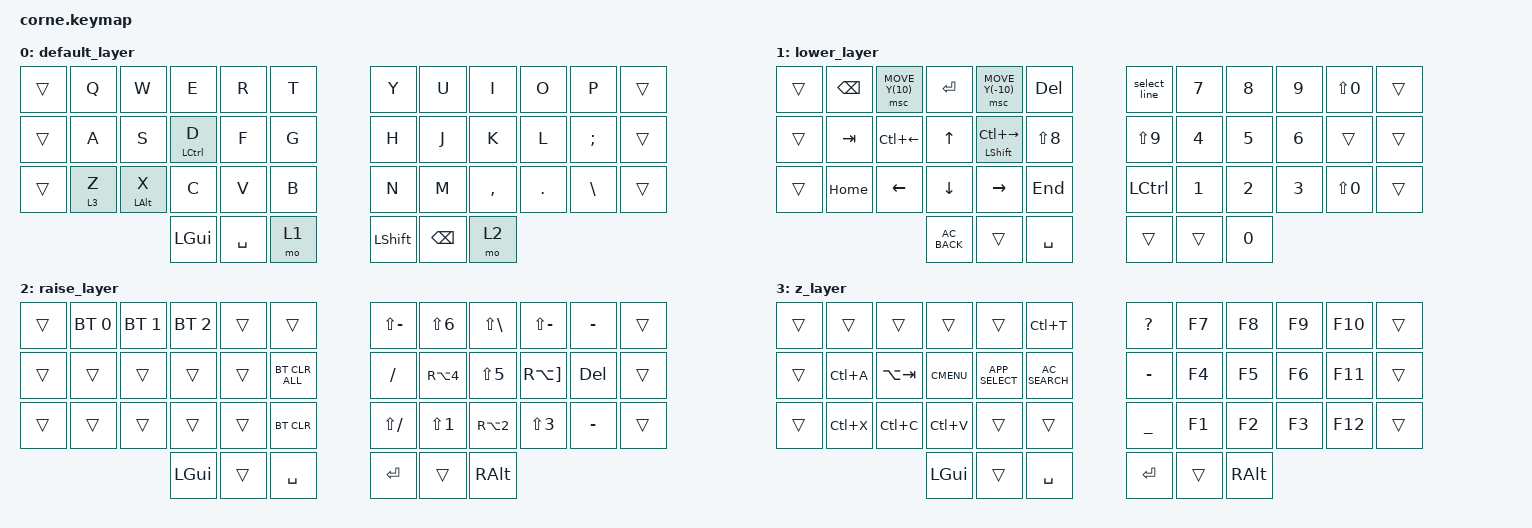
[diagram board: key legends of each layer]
/*
 * Copyright (c) 2020 The ZMK Contributors
 *
 * SPDX-License-Identifier: MIT
 */

#include <behaviors.dtsi>
#include <dt-bindings/zmk/keys.h>
#include <dt-bindings/zmk/bt.h>
#include <dt-bindings/zmk/pointing.h> 

/ {
    // -------------------------------------------------------------------------
    // MACROS 
    // -------------------------------------------------------------------------
    macros {
        select_line: select_line {
            compatible = "zmk,behavior-macro";
            #binding-cells = <0>;
            wait-ms = <30>;
            tap-ms = <30>;
            bindings = <&kp HOME>,
                       <&macro_press &kp LSHIFT>,
                       <&macro_tap &kp END>,
                       <&macro_release &kp LSHIFT>;
        };

        ctrl_shift: ctrl_shift {
        compatible = "zmk,behavior-macro";
        #binding-cells = <0>;
        bindings = <&macro_press &kp LCTRL &kp LSHIFT>,
                   <&macro_pause_for_release>,
                   <&macro_release &kp LCTRL &kp LSHIFT>;
        };
};

    // -------------------------------------------------------------------------
    // BEHAVIORS
    // -------------------------------------------------------------------------
    behaviors {
        lt_z: layer_tap_z {
            compatible = "zmk,behavior-hold-tap";
            #binding-cells = <2>;
            flavor = "balanced";
            tapping-term-ms = <200>;
            quick-tap-ms = <150>;
            bindings = <&mo>, <&kp>;
        };

        hml: home_row_mod_left {
            compatible = "zmk,behavior-hold-tap";
            #binding-cells = <2>;
            flavor = "balanced";
            tapping-term-ms = <300>;
            quick-tap-ms = <175>;
            require-prior-idle-ms = <175>;
            bindings = <&kp>, <&kp>;
        };

        hmr: home_row_mod_right {
            compatible = "zmk,behavior-hold-tap";
            #binding-cells = <2>;
            flavor = "balanced";
            tapping-term-ms = <280>;
            quick-tap-ms = <175>;
            require-prior-idle-ms = <150>;
            bindings = <&kp>, <&kp>;
        };

        shft_lc_right: shft_lc_right {
            compatible = "zmk,behavior-hold-tap";
            #binding-cells = <2>;
            flavor = "balanced";
            tapping-term-ms = <280>;
            quick-tap-ms = <175>;
            bindings = <&kp>, <&kp>;
        };
};

    // -------------------------------------------------------------------------
    // COMBOS
    // -------------------------------------------------------------------------
    combos {
        compatible = "zmk,combos";

        combo_esc {
            timeout-ms = <50>;
            key-positions = <1 2>;
            bindings = <&kp ESC>;
        };

        // U + I -> Double Quote (")
        combo_dqt {
            timeout-ms = <50>;
            key-positions = <7 8>;
            bindings = <&kp LS(N2)>;
        };

        // J + L -> Colon (:)
        combo_colon {
            timeout-ms = <50>;
            key-positions = <19 21>;
            bindings = <&kp LS(DOT)>;
        };

        // J + Semicolon -> Semicolon (;)
        combo_semi {
            timeout-ms = <50>;
            key-positions = <19 22>;
            bindings = <&kp LS(COMMA)>;
        };

        // J + K -> Underscore (_)
        combo_underscore {
            timeout-ms = <50>;
            key-positions = <19 20>;
            bindings = <&kp LS(SLASH)>;
        };

        // H + J -> Minus (-)
        combo_minus {
            timeout-ms = <50>;
            key-positions = <18 19>;
            bindings = <&kp SLASH>;
        };

        // M + K -> Forward Slash (/)
        combo_fslh {
            timeout-ms = <50>;
            key-positions = <31 20>;
            bindings = <&kp LS(N7)>;
        };

        // D + V -> Backslash (\)
        combo_bslh {
            timeout-ms = <50>;
            key-positions = <15 28>;
            bindings = <&kp RA(MINUS)>;
        };

        // Pipe (|)
        //combo_pipe {
        //    timeout-ms = <50>;
        //    key-positions = <13 25>;
        //    bindings = <&kp RA(NON_US_BSLH)>;
        //};

        combo_ctrl_shift {
        timeout-ms = <75>;             // Gives you a wider window if pressed together
            key-positions = <13 25>;        // A (13) and Z (25)
            bindings = <&ctrl_shift>;
            slow-release;                   // Holds Ctrl+Shift until BOTH keys are released
        };

        // I + O + P -> Enter
        combo_enter {
            timeout-ms = <50>;
            key-positions = <8 9 10>;
            bindings = <&kp RET>;
        };

        // S + X -> Tilde (~)
        combo_tilde {
            timeout-ms = <50>;
            key-positions = <14 26>;
            bindings = <&kp RA(RBKT)>;
        };

        // Comma + Dot -> Caret (^) [Shift + ¨ key in SE layout]
        combo_caret {
            timeout-ms = <50>;
            key-positions = <32 33>;
            bindings = <&kp LS(RBKT)>;
        };

        // A + E -> ä / Ä
        combo_se_a_umlaut {
            timeout-ms = <50>;
            key-positions = <13 3>;
            bindings = <&kp SQT>;
        };

        // A + Ö (SEMI) -> å / Å
        combo_se_a_ring {
            timeout-ms = <50>;
            key-positions = <13 22>;
            bindings = <&kp LBKT>;
        };
        // V + D + R -> Less-Than (<) [NON_US_BSLH key in SE layout]
        combo_lt {
            timeout-ms = <50>;
            key-positions = <28 15 4>;
            bindings = <&kp NON_US_BSLH>;
        };

        // M + K + U -> Greater-Than (>) [Shift + NON_US_BSLH in SE layout]
        combo_gt {
            timeout-ms = <50>;
            key-positions = <31 20 7>;
            bindings = <&kp LS(NON_US_BSLH)>;
        };
        // V + D + R + M + K + U -> Caret (^) [Shift + ¨ key in SE layout]
        combo_caret_6key {
            timeout-ms = <60>;
            key-positions = <28 15 4 31 20 7>;
            bindings = <&kp LS(RBKT)>;
        };
    };

    // -------------------------------------------------------------------------
    // KEYMAP
    // -------------------------------------------------------------------------
    keymap {
        compatible = "zmk,keymap";

        default_layer {
// -----------------------------------------------------------------------------------------
// | XXXX |  Q  |  W  |  E  |  R  |  T  |   |  Y  |  U   |  I  |  O  |  P  | XXXX |
// | XXXX |  A  |  S  |  D  |  F  |  G  |   |  H  |  J   |  K  |  L  |  Ö  | XXXX |
// | XXXX |  Z  |  X  |  C  |  V  |  B  |   |  N  |  M   |  ,  |  .  |  '  | XXXX |
//                    | GUI | SPC | LWR |   | ENT | BSPC | ALT |
            bindings = <
   &trans   &kp Q         &kp W         &kp E        &kp R        &kp T                     &kp Y      &kp U         &kp I          &kp O        &kp P                  &trans
   &trans   &kp A         &kp S         &hml LCTRL D &kp F        &kp G                     &kp H      &kp J         &kp K          &kp L        &kp SEMI               &trans
   &trans   &lt_z 3 Z     &hml LALT X   &kp C         &kp V        &kp B                     &kp N      &kp M         &kp COMMA      &kp DOT      &kp BSLH               &trans
                                        &kp LGUI     &kp SPACE    &mo 1                     &kp LSHIFT &kp BSPC      &mo 2
            >;
        };

        lower_layer {
// -----------------------------------------------------------------------------------------
// | XXXX |BSPC | M_UP|Enter|M_DWN| DEL |   |SEL_L|  7  |  8  |  9  |  0  | XXXX |
// | XXXX | TAB |L_LFT| UP  |L_RGT|  (  |   |  )  |  4  |  5  |  6  |     | XXXX |
// | XXXX | HOME| LEFT| DOWN|RIGHT| END |   |     |  1  |  2  |  3  |     | XXXX |
//                    | BACK|     | SPC |   | ENT |     |  0  |
            bindings = <
   &trans   &kp BSPC      &msc MOVE_Y(10)  &kp RET      &msc MOVE_Y(-10)  &kp DEL                       &select_line    &kp N7  &kp N8 &kp N9  &kp LS(N0)   &trans
   &trans   &kp TAB       &kp LC(LEFT)     &kp UP       &shft_lc_right LSHIFT LC(RIGHT)    &kp LS(N8)   &kp LS(N9)      &kp N4  &kp N5 &kp N6  &trans      &trans
   &trans   &kp HOME      &kp LEFT         &kp DOWN     &kp RIGHT         &kp END                       &kp LCTRL       &kp N1  &kp N2 &kp N3  &kp LS(N0)   &trans
                                           &kp C_AC_BACK &trans           &kp SPACE                     &trans          &trans  &kp N0
            >;
        };

        raise_layer {
// -----------------------------------------------------------------------------------------
// | XXXX |     |     |     |     |     |   |  ?  |  &  |  *  |  (  |  +  | XXXX |
// | XXXX |     |     |     |     |     |   |  -  |  $  |  %  |  ^  | DEL | XXXX |
// | XXXX |     |     |     |     |     |   |  _  |  !  |  @  |  #  |  +  | XXXX |
//                    | GUI |     | SPC |   | ENT |     | ALT |
            bindings = <
   &trans   &bt BT_SEL 0   &bt BT_SEL 1   &bt BT_SEL 2   &trans      &trans            &kp LS(MINUS) &kp LS(N6) &kp LS(BSLH)  &kp LS(MINUS)  &kp MINUS     &trans
   &trans   &trans   &trans   &trans   &trans   &bt BT_CLR_ALL       &kp SLASH     &kp RA(N4) &kp LS(N5)    &kp RA(RBKT) &kp DEL       &trans
   &trans   &trans   &trans   &trans   &trans   &bt BT_CLR           &kp LS(SLASH) &kp LS(N1) &kp RA(N2)    &kp LS(N3)   &kp MINUS     &trans
                              &kp LGUI &trans   &kp SPACE            &kp RET       &trans     &kp RALT
            >;
        };

        z_layer {     // Layer 3 
// -----------------------------------------------------------------------------------------
// | XXXX |  !  |  @  |  #  |  $  |  %  |   |  ?  |  &  |  *  |  (  |  )  | XXXX |
// | XXXX |     |     |     |     |     |   |  -  |  $  |  %  |  ^  |  \  | XXXX |
// | XXXX |     |     |     |     |     |   |  _  |  !  |  @  |  #  | "|" | XXXX |
//                    | GUI |     | SPC |   | ENT |     | ALT |
            bindings = <
   &trans      &trans      &trans      &trans     &trans    &kp LC(T)                        &kp QUESTION &kp F7    &kp F8       &kp F9   &kp F10         &trans
   &trans      &kp LC(A)   &kp LA(TAB)   &kp K_CMENU     &kp K_APP_SELECT &kp C_AC_SEARCH    &kp MINUS    &kp F4    &kp F5       &kp F6   &kp F11         &trans
   &trans      &kp LC(X)   &kp LC(C)   &kp LC(V)  &trans    &trans                           &kp UNDER    &kp F1    &kp F2       &kp F3   &kp F12         &trans
                              &kp LGUI &trans   &kp SPACE                                    &kp RET  &trans    &kp RALT
            >;
        };
    }; 
};
